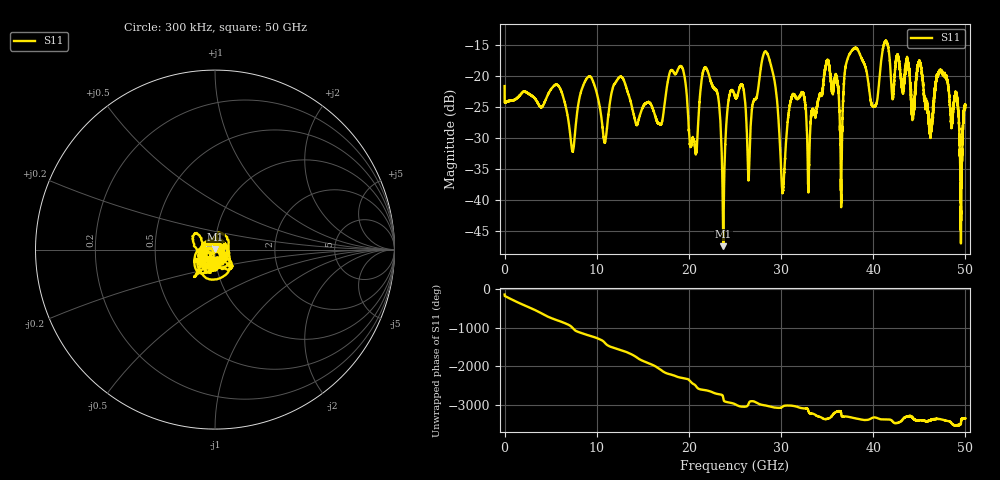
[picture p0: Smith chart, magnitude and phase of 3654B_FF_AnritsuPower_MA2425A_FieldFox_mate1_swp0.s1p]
!Created with skrf (http://scikit-rf.org).
# Hz S RI R 50.0
!freq ReS11 ImS11
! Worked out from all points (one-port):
!   10001 points, 300 kHz to 50 GHz, reference 50 ohm
!   lowest |S11| = -47.5 dB at 23.73 GHz (marker M1), VSWR 1.01, Z = 50.3 + j0.327 ohm
!   |S11| at or under -10 dB: start of sweep to end of sweep
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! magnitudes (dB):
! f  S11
! 300 kHz  -21.6
! 6.25 GHz  -22.9
! 7.385 GHz  -32.2
! 9.335 GHz  -20.1
! 10.88 GHz  -30.7
! 12.5 GHz  -20.1
! 16.84 GHz  -27.7
! 18.75 GHz  -19.1
! 20.65 GHz  -31.4
! 21.63 GHz  -18.8
! 22.95 GHz  -22.1
! 23.73 GHz  -47.5
! 25 GHz  -23.3
! 26.5 GHz  -36.5
! 28.49 GHz  -16.3
! 30.19 GHz  -38.6
! 31.25 GHz  -23.1
! 33 GHz  -37.3
! 35.06 GHz  -17.4
! 36.51 GHz  -39.5
! 37.5 GHz  -16.3
! 40.05 GHz  -25.0
! 41.29 GHz  -14.5
! 43.75 GHz  -17.4
! 46.23 GHz  -29.4
! 47.81 GHz  -19.9
! 49.54 GHz  -43.4
! 50 GHz  -24.7
